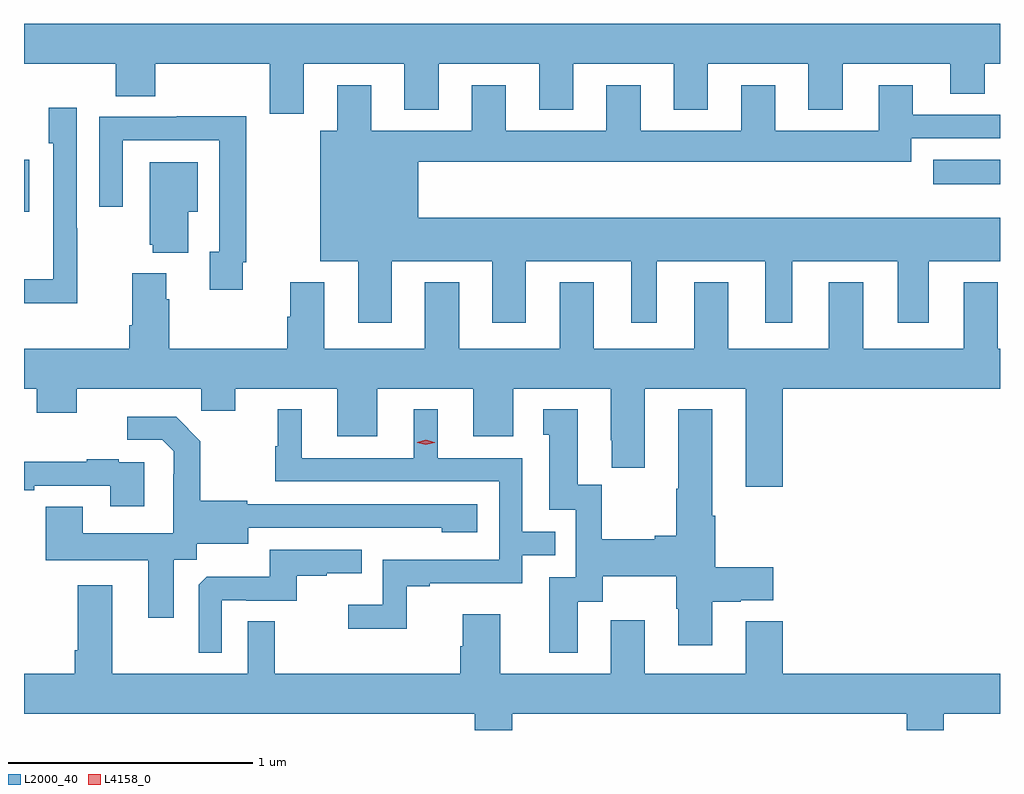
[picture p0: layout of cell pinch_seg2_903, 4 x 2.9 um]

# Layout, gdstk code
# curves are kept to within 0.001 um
import gdstk
lib = gdstk.Library(unit=1e-6, precision=1e-09)
def R(c, l, rs):  # rectangles x0, y0, x1, y1
    for r in rs: c.add(gdstk.rectangle(r[:2], r[2:], *l))
def P(c, l, *ps):  # polygons
    for p in ps: c.add(gdstk.Polygon(p, *l))
L2000_40 = (2000, 40)
L4158_0 = (4158, 0)

pinch_seg2_903 = lib.new_cell('pinch_seg2_903')
R(pinch_seg2_903, L2000_40, [(491.598,656.354,491.62,656.566), (495.324,656.465,495.598,656.566)])
P(pinch_seg2_903, L2000_40, [(492.745,656.96),(493.157,656.96),(493.157,656.771),(493.297,656.771),(493.297,656.96),(493.709,656.96),(493.709,656.771),(493.849,656.771),(493.849,656.96),(494.261,656.96),(494.261,656.771),(494.401,656.771),(494.401,656.96),(494.813,656.96),(494.813,656.771),(494.953,656.771),(494.953,656.96),(495.395,656.96),(495.395,656.836),(495.535,656.836),(495.535,656.96),(495.598,656.96),(495.598,657.124),(491.598,657.124),(491.598,656.96),(491.975,656.96),(491.975,656.827),(492.135,656.827),(492.135,656.96),(492.605,656.96),(492.605,656.754),(492.745,656.754)],
  [(493.105,656.15),(493.517,656.15),(493.517,655.899),(493.654,655.899),(493.654,656.15),(494.087,656.15),(494.087,655.899),(494.191,655.899),(494.191,656.15),(494.636,656.15),(494.636,655.899),(494.746,655.899),(494.746,656.15),(495.179,656.15),(495.179,655.899),(495.307,655.899),(495.307,656.15),(495.598,656.15),(495.598,656.329),(493.213,656.329),(493.213,656.558),(495.235,656.558),(495.235,656.655),(495.598,656.655),(495.598,656.751),(495.241,656.751),(495.241,656.872),(495.101,656.872),(495.101,656.686),(494.677,656.686),(494.677,656.872),(494.537,656.872),(494.537,656.686),(494.125,656.686),(494.125,656.872),(493.985,656.872),(493.985,656.686),(493.573,656.686),(493.573,656.872),(493.433,656.872),(493.433,656.686),(493.021,656.686),(493.021,656.872),(492.881,656.872),(492.881,656.686),(492.812,656.686),(492.812,656.15),(492.968,656.15),(492.968,655.899),(493.105,655.899)],
  [(491.817,656.285),(491.814,656.285),(491.814,656.779),(491.699,656.779),(491.699,656.634),(491.718,656.634),(491.718,656.327),(491.717,656.327),(491.717,656.076),(491.598,656.076),(491.598,655.979),(491.817,655.979)],
  [(492.495,656.146),(492.508,656.146),(492.508,656.744),(492.223,656.744),(492.223,656.742),(491.907,656.742),(491.907,656.373),(492.003,656.373),(492.003,656.646),(492.399,656.646),(492.399,656.19),(492.359,656.19),(492.359,656.034),(492.495,656.034)],
  [(492.271,656.354),(492.31,656.354),(492.31,656.557),(492.113,656.557),(492.113,656.217),(492.125,656.217),(492.125,656.186),(492.271,656.186)],
  [(494.708,655.628),(495.598,655.628),(495.598,655.792),(495.589,655.792),(495.589,656.065),(495.449,656.065),(495.449,655.792),(495.037,655.792),(495.037,656.065),(494.897,656.065),(494.897,655.792),(494.485,655.792),(494.485,656.065),(494.345,656.065),(494.345,655.792),(493.933,655.792),(493.933,656.065),(493.793,656.065),(493.793,655.792),(493.381,655.792),(493.381,656.065),(493.241,656.065),(493.241,655.792),(492.829,655.792),(492.829,656.065),(492.689,656.065),(492.689,655.923),(492.677,655.923),(492.677,655.792),(492.194,655.792),(492.194,655.994),(492.181,655.994),(492.181,656.101),(492.041,656.101),(492.041,655.888),(492.029,655.888),(492.029,655.792),(491.598,655.792),(491.598,655.628),(491.651,655.628),(491.651,655.529),(491.815,655.529),(491.815,655.628),(492.325,655.628),(492.325,655.538),(492.463,655.538),(492.463,655.628),(492.881,655.628),(492.881,655.434),(493.045,655.434),(493.045,655.628),(493.439,655.628),(493.439,655.434),(493.603,655.434),(493.603,655.628),(494.003,655.628),(494.003,655.417),(494.006,655.417),(494.006,655.305),(494.143,655.305),(494.143,655.628),(494.555,655.628),(494.555,655.227),(494.708,655.227)],
  [(493.167,654.819),(493.261,654.819),(493.261,654.831),(493.641,654.831),(493.641,654.945),(493.775,654.945),(493.775,655.041),(493.641,655.041),(493.641,655.344),(493.294,655.344),(493.294,655.543),(493.196,655.543),(493.196,655.344),(492.736,655.344),(492.736,655.543),(492.638,655.543),(492.638,655.392),(492.627,655.392),(492.627,655.248),(493.545,655.248),(493.545,654.927),(493.068,654.927),(493.068,654.742),(492.927,654.742),(492.927,654.644),(493.167,654.644)],
  [(493.867,654.754),(493.969,654.754),(493.969,654.86),(494.272,654.86),(494.272,654.726),(494.279,654.726),(494.279,654.576),(494.419,654.576),(494.419,654.754),(494.535,654.754),(494.535,654.761),(494.668,654.761),(494.668,654.896),(494.432,654.896),(494.432,655.108),(494.419,655.108),(494.419,655.543),(494.279,655.543),(494.279,655.217),(494.272,655.217),(494.272,655.025),(494.183,655.025),(494.183,655.012),(493.965,655.012),(493.965,655.235),(493.867,655.235),(493.867,655.543),(493.727,655.543),(493.727,655.44),(493.751,655.44),(493.751,655.131),(493.86,655.131),(493.86,654.855),(493.751,654.855),(493.751,654.546),(493.867,654.546)],
  [(492.211,654.928),(492.306,654.928),(492.306,654.992),(492.517,654.992),(492.517,655.059),(493.311,655.058),(493.311,655.04),(493.456,655.04),(493.456,655.155),(492.513,655.155),(492.513,655.168),(492.321,655.168),(492.321,655.413),(492.221,655.513),(492.021,655.513),(492.021,655.419),(492.165,655.419),(492.212,655.372),(492.212,655.277),(492.21,655.277),(492.21,655.036),(491.839,655.036),(491.839,655.145),(491.687,655.145),(491.687,654.926),(492.107,654.926),(492.107,654.69),(492.211,654.69)],
  [(492.091,655.326),(491.987,655.326),(491.987,655.339),(491.855,655.339),(491.855,655.328),(491.598,655.328),(491.598,655.212),(491.641,655.212),(491.641,655.23),(491.951,655.23),(491.951,655.146),(492.091,655.146)],
  [(492.408,654.762),(492.508,654.762),(492.508,654.759),(492.716,654.759),(492.716,654.861),(492.839,654.861),(492.839,654.872),(492.983,654.872),(492.983,654.969),(492.606,654.969),(492.606,654.857),(492.347,654.857),(492.315,654.825),(492.315,654.545),(492.408,654.545)],
  [(493.598,654.296),(495.215,654.296),(495.215,654.228),(495.367,654.228),(495.367,654.296),(495.598,654.296),(495.598,654.46),(494.708,654.46),(494.708,654.676),(494.555,654.676),(494.555,654.46),(494.143,654.46),(494.143,654.679),(494.003,654.679),(494.003,654.46),(493.549,654.46),(493.549,654.703),(493.397,654.703),(493.397,654.573),(493.385,654.573),(493.385,654.46),(492.625,654.46),(492.625,654.674),(492.516,654.674),(492.516,654.46),(491.959,654.46),(491.959,654.823),(491.819,654.823),(491.819,654.556),(491.807,654.556),(491.807,654.46),(491.598,654.46),(491.598,654.296),(493.445,654.296),(493.445,654.228),(493.598,654.228)])
P(pinch_seg2_903, L4158_0, [(493.245,655.398),(493.209,655.407),(493.209,655.408),(493.209,655.408),(493.245,655.418),(493.281,655.408),(493.281,655.408),(493.281,655.407)])

lib.write_gds('pinch_seg2_903.gds')
